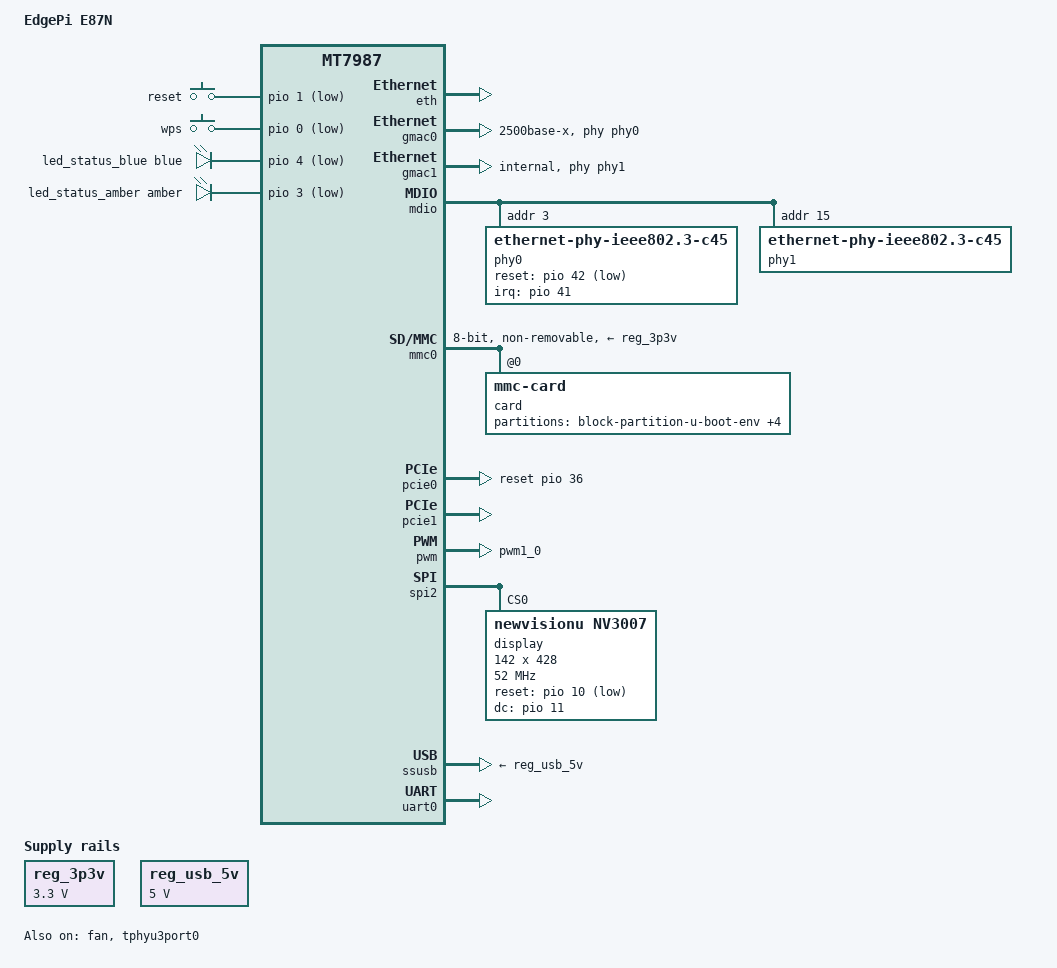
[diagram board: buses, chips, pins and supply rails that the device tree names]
// SPDX-License-Identifier: (GPL-2.0 OR MIT)

/dts-v1/;
#include "mt7987a.dtsi"
#include <dt-bindings/input/input.h>

/ {
	model = "EdgePi E87N";
	compatible = "edgepi,e87n", "mediatek,mt7987a", "mediatek,mt7987";

	aliases {
		led-boot = &led_status_blue;
		led-failsafe = &led_status_amber;
		led-upgrade = &led_status_amber;
		serial0 = &uart0;
	};

	chosen {
		bootargs = "console=ttyS0,115200n1 fbcon=map:off fbcon=disable root=PARTLABEL=rootfs rootwait rootfstype=squashfs,f2fs";
		stdout-path = "serial0:115200n8";
	};

	gpio-keys {
		compatible = "gpio-keys";

		button-reset {
			label = "reset";
			linux,code = <KEY_RESTART>;
			gpios = <&pio 1 GPIO_ACTIVE_LOW>;
			debounce-interval = <10>;
		};

		button-wps {
			label = "wps";
			linux,code = <KEY_WPS_BUTTON>;
			gpios = <&pio 0 GPIO_ACTIVE_LOW>;
			debounce-interval = <10>;
		};
	};

	leds {
		compatible = "gpio-leds";

		led_status_blue: led-blue {
			function = LED_FUNCTION_STATUS;
			color = <LED_COLOR_ID_BLUE>;
			gpios = <&pio 4 GPIO_ACTIVE_LOW>;
		};

		led_status_amber: led-amber {
			function = LED_FUNCTION_STATUS;
			color = <LED_COLOR_ID_AMBER>;
			gpios = <&pio 3 GPIO_ACTIVE_LOW>;
		};
	};

	reg_3p3v: regulator-3p3v {
		compatible = "regulator-fixed";
		regulator-name = "fixed-3.3V";
		regulator-min-microvolt = <3300000>;
		regulator-max-microvolt = <3300000>;
		regulator-boot-on;
		regulator-always-on;
	};

	reg_usb_5v: regulator-usb-5v {
		compatible = "regulator-fixed";
		regulator-name = "usb-5v";
		regulator-min-microvolt = <5000000>;
		regulator-max-microvolt = <5000000>;
		regulator-boot-on;
		regulator-always-on;
	};
};

&eth {
	status = "okay";
};

&fan {
	compatible = "pwm-fan";
	pwms = <&pwm 1 50000 0>;
	status = "okay";
};

&gmac0 {
	nvmem-cells = <&macaddr_factory_24>;
	nvmem-cell-names = "mac-address";
	phy-mode = "2500base-x";
	phy-handle = <&phy0>;
	status = "okay";
};

&gmac1 {
	nvmem-cells = <&macaddr_factory_2a>;
	nvmem-cell-names = "mac-address";
	phy-mode = "internal";
	phy-handle = <&phy1>;
	status = "okay";
};

&mdio {
	phy0: phy@3 {
		compatible = "ethernet-phy-ieee802.3-c45";
		reg = <3>;
		reset-gpios = <&pio 42 GPIO_ACTIVE_LOW>;
		reset-assert-us = <100000>;
		reset-deassert-us = <100000>;
		interrupt-parent = <&pio>;
		interrupts = <41 IRQ_TYPE_LEVEL_LOW>;
	};

	phy1: phy@f {
		compatible = "ethernet-phy-ieee802.3-c45";
		reg = <15>;
		pinctrl-names = "i2p5gbe-led";
		pinctrl-0 = <&i2p5gbe_led0_pins>;
	};
};

&mmc0 {
	pinctrl-names = "default", "state_uhs";
	pinctrl-0 = <&mmc_pins_default>;
	pinctrl-1 = <&mmc_pins_uhs>;
	bus-width = <8>;
	max-frequency = <48000000>;
	cap-mmc-highspeed;
	vmmc-supply = <&reg_3p3v>;
	non-removable;
	status = "okay";

	card@0 {
		compatible = "mmc-card";
		reg = <0>;

		block {
			compatible = "block-device";

			partitions {
				block-partition-u-boot-env {
					partname = "u-boot-env";
				};

				block-partition-factory {
					partname = "factory";

					nvmem-layout {
						compatible = "fixed-layout";
						#address-cells = <1>;
						#size-cells = <1>;

						eeprom_factory_0: eeprom@0 {
							reg = <0x0 0x1e00>;
						};

						macaddr_factory_24: macaddr@24 {
							reg = <0x24 0x6>;
						};

						macaddr_factory_2a: macaddr@2a {
							reg = <0x2a 0x6>;
						};
					};
				};

				block-partition-fip {
					partname = "fip";
				};

				block-partition-kernel {
					partname = "kernel";
				};

				block-partition-rootfs {
					partname = "rootfs";
				};
			};
		};
	};
};

&pcie0 {
	pinctrl-names = "default";
	pinctrl-0 = <&pcie0_pins>;
	reset-gpios = <&pio 36 GPIO_ACTIVE_HIGH>;
	status = "okay";
};

&pcie1 {
	pinctrl-names = "default";
	pinctrl-0 = <&pcie1_pins>;
	status = "okay";
};

&pio {
	pwm_fan_pins: pwm-fan-pins {
		mux {
			function = "pwm";
			groups = "pwm1_0";
		};
	};
};

&pwm {
	pinctrl-names = "default";
	pinctrl-0 = <&pwm_fan_pins>;
	status = "okay";
};

&spi2 {
	pinctrl-names = "default";
	pinctrl-0 = <&spi2_flash_pins>;
	status = "okay";

	display@0 {
		compatible = "newvisionu,nv3007";
		reg = <0>;
		spi-max-frequency = <52000000>;
		reset-gpios = <&pio 10 GPIO_ACTIVE_LOW>;
		dc-gpios = <&pio 11 GPIO_ACTIVE_HIGH>;
		width = <142>;
		height = <428>;
		rotate = <270>;
		fps = <100>;
		status = "okay";
	};
};

&ssusb {
	status = "okay";
	vusb33-supply = <&reg_3p3v>;
	vbus-supply = <&reg_usb_5v>;
};

&tphyu3port0 {
	status = "okay";
};

&uart0 {
	pinctrl-names = "default";
	pinctrl-0 = <&uart0_pins>;
	status = "okay";
};
